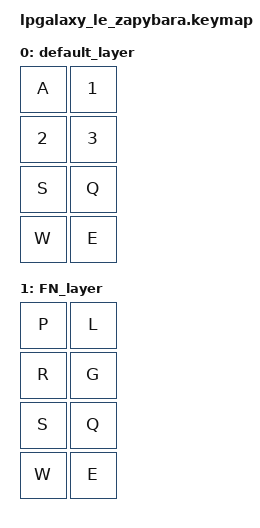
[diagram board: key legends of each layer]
/*
 * Copyright (c) 2020 The ZMK Contributors
 *
 * SPDX-License-Identifier: MIT
 */

/* #undef ZMK_BEHAVIORS_KEEP_ALL   not enabling all behaviors, it works, add the #! */
/* #define ZMK_BEHAVIORS_KEEP_KT */

#include <behaviors.dtsi>
#include <dt-bindings/zmk/keys.h>
#include <dt-bindings/zmk/bt.h>
#include <dt-bindings/zmk/outputs.h>  /* this needed to enable output toggle */

/ {

    keymap {
        compatible = "zmk,keymap";

        default_layer {
            bindings = <
                &kp A  &kp N1  &kp N2  &kp N3
                &kp S &kp Q   &kp W   &kp E
            >;
        };

        FN_layer {
            bindings = <
                &kp P  &kp L  &kp R  &kp G
                &kp S &kp Q   &kp W   &kp E
            >;
        };

        extra1 {
            status = "reserved";
        };
    };
};
